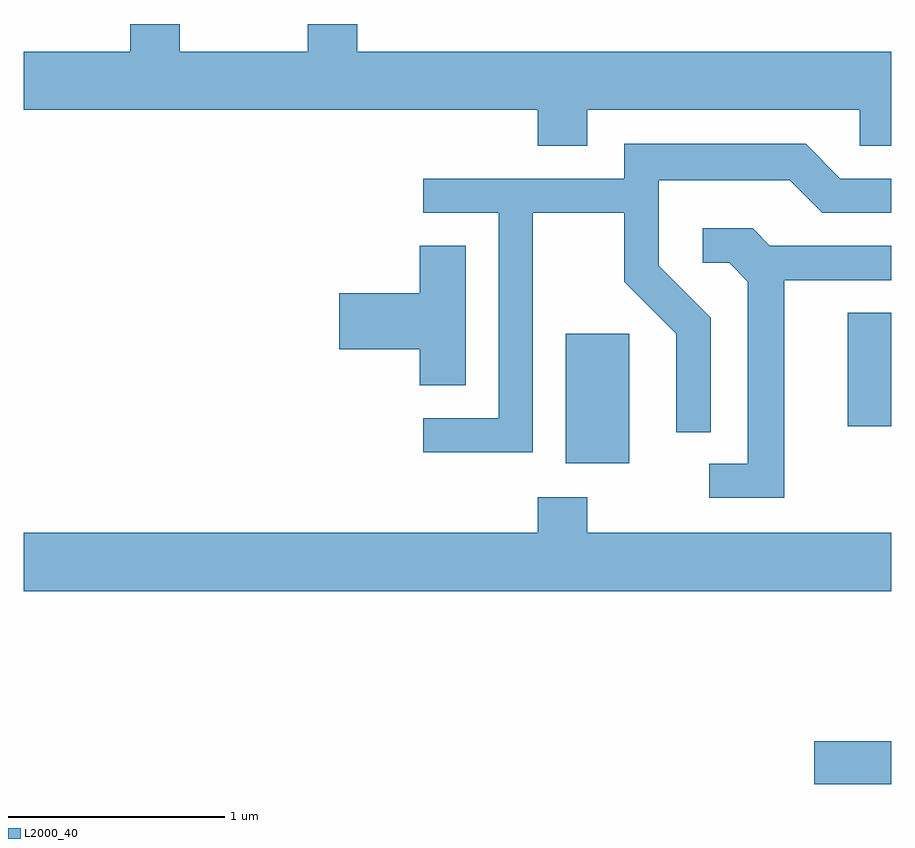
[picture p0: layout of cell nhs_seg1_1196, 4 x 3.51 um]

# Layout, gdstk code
import gdstk
lib = gdstk.Library(unit=1e-6, precision=1e-09)
def R(c, l, rs):  # rectangles x0, y0, x1, y1
    for r in rs: c.add(gdstk.rectangle(r[:2], r[2:], *l))
def P(c, l, *ps):  # polygons
    for p in ps: c.add(gdstk.Polygon(p, *l))
L2000_40 = (2000, 40)

nhs_seg1_1196 = lib.new_cell('nhs_seg1_1196')
R(nhs_seg1_1196, L2000_40, [(225.256,934.206,225.611,934.404), (224.111,935.686,224.404,936.284), (225.411,935.856,225.611,936.379)])
P(nhs_seg1_1196, L2000_40, [(224.209,937.316),(225.466,937.316),(225.466,937.151),(225.611,937.151),(225.611,937.584),(223.149,937.584),(223.149,937.712),(222.921,937.712),(222.921,937.584),(222.329,937.584),(222.329,937.712),(222.101,937.712),(222.101,937.584),(221.611,937.584),(221.611,937.316),(223.981,937.316),(223.981,937.151),(224.209,937.151)],
  [(223.959,936.841),(224.381,936.841),(224.381,936.524),(224.621,936.284),(224.621,935.828),(224.779,935.828),(224.779,936.357),(224.539,936.597),(224.539,936.991),(225.144,936.991),(225.294,936.841),(225.611,936.841),(225.611,936.999),(225.377,936.999),(225.217,937.159),(224.381,937.159),(224.381,936.999),(223.453,936.999),(223.453,936.841),(223.801,936.841),(223.801,935.894),(223.453,935.894),(223.453,935.736),(223.959,935.736)],
  [(225.119,936.531),(225.611,936.531),(225.611,936.689),(225.052,936.689),(224.972,936.769),(224.743,936.769),(224.743,936.611),(224.864,936.611),(224.951,936.524),(224.951,935.684),(224.773,935.684),(224.773,935.526),(225.119,935.526)],
  [(223.649,936.689),(223.436,936.689),(223.436,936.469),(223.066,936.469),(223.066,936.211),(223.436,936.211),(223.436,936.046),(223.649,936.046)],
  [(225.611,935.364),(224.209,935.364),(224.209,935.529),(223.981,935.529),(223.981,935.364),(221.611,935.364),(221.611,935.096),(225.611,935.096)])

lib.write_gds('nhs_seg1_1196.gds')
